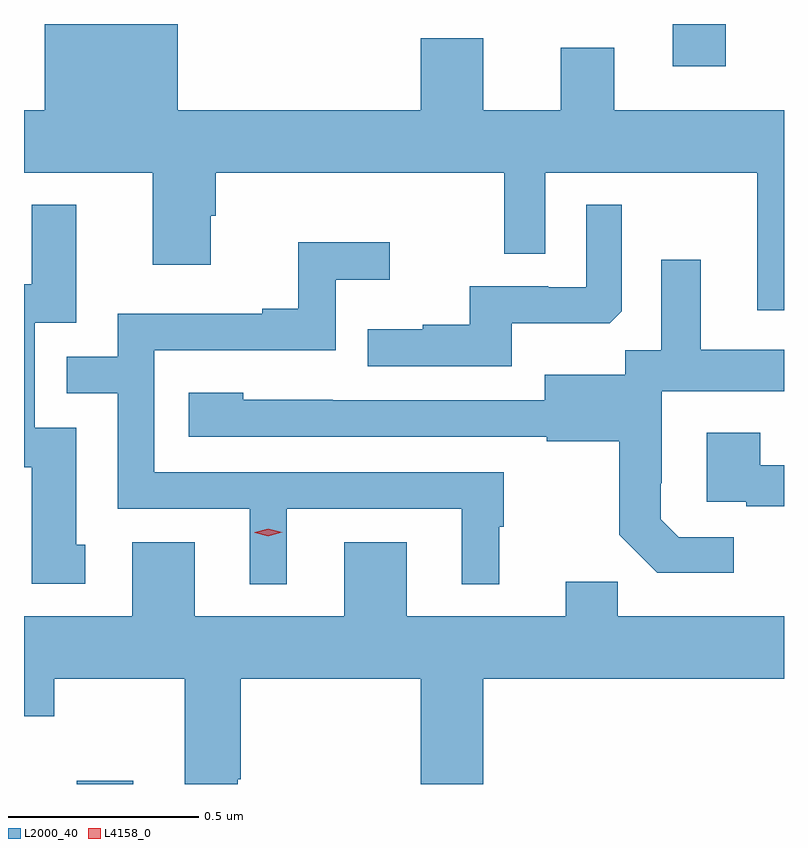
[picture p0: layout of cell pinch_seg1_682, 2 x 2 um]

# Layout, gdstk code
import gdstk
lib = gdstk.Library(unit=1e-6, precision=1e-09)
def R(c, l, rs):  # rectangles x0, y0, x1, y1
    for r in rs: c.add(gdstk.rectangle(r[:2], r[2:], *l))
def P(c, l, *ps):  # polygons
    for p in ps: c.add(gdstk.Polygon(p, *l))
L2000_40 = (2000, 40)
L4158_0 = (4158, 0)

pinch_seg1_682 = lib.new_cell('pinch_seg1_682')
R(pinch_seg1_682, L2000_40, [(799.467,572.767,799.615,572.776), (801.035,574.656,801.175,574.767)])
P(pinch_seg1_682, L2000_40, [(801.328,574.54),(800.881,574.54),(800.881,574.705),(800.741,574.705),(800.741,574.54),(800.536,574.54),(800.536,574.729),(800.372,574.729),(800.372,574.54),(799.732,574.54),(799.732,574.767),(799.382,574.767),(799.382,574.54),(799.328,574.54),(799.328,574.376),(799.667,574.376),(799.667,574.134),(799.819,574.134),(799.819,574.263),(799.832,574.263),(799.832,574.376),(800.592,574.376),(800.592,574.162),(800.7,574.162),(800.7,574.376),(801.257,574.376),(801.257,574.014),(801.328,574.014)],
  [(800.611,573.98),(800.869,573.98),(800.901,574.011),(800.901,574.291),(800.808,574.291),(800.808,574.074),(800.708,574.074),(800.708,574.077),(800.501,574.077),(800.501,573.976),(800.377,573.976),(800.377,573.964),(800.233,573.964),(800.233,573.867),(800.611,573.867)],
  [(799.489,573.396),(799.465,573.396),(799.465,573.705),(799.356,573.705),(799.356,573.981),(799.465,573.981),(799.465,574.291),(799.349,574.291),(799.349,574.082),(799.328,574.082),(799.328,573.6),(799.349,573.6),(799.349,573.294),(799.489,573.294)],
  [(800.02,573.492),(800.48,573.492),(800.48,573.293),(800.578,573.293),(800.578,573.444),(800.59,573.444),(800.59,573.588),(799.671,573.588),(799.671,573.909),(800.148,573.909),(800.148,574.094),(800.29,574.094),(800.29,574.193),(800.05,574.193),(800.05,574.018),(799.955,574.018),(799.955,574.005),(799.575,574.005),(799.575,573.891),(799.441,573.891),(799.441,573.795),(799.575,573.795),(799.575,573.492),(799.922,573.492),(799.922,573.293),(800.02,573.293)],
  [(801.196,573.417),(801.051,573.417),(801.004,573.464),(801.004,573.559),(801.006,573.559),(801.006,573.8),(801.328,573.8),(801.328,573.91),(801.109,573.91),(801.109,574.147),(801.005,574.147),(801.005,573.908),(800.91,573.908),(800.91,573.844),(800.699,573.844),(800.699,573.777),(800.141,573.777),(800.141,573.778),(799.905,573.778),(799.905,573.796),(799.761,573.796),(799.761,573.681),(800.703,573.681),(800.703,573.669),(800.895,573.669),(800.895,573.423),(800.995,573.323),(801.196,573.323)],
  [(801.328,573.606),(801.265,573.606),(801.265,573.691),(801.125,573.691),(801.125,573.51),(801.229,573.51),(801.229,573.498),(801.328,573.498)],
  [(799.891,572.779),(799.899,572.779),(799.899,573.044),(800.372,573.044),(800.372,572.767),(800.536,572.767),(800.536,573.044),(801.328,573.044),(801.328,573.208),(800.891,573.208),(800.891,573.299),(800.753,573.299),(800.753,573.208),(800.335,573.208),(800.335,573.403),(800.171,573.403),(800.171,573.208),(799.777,573.208),(799.777,573.403),(799.613,573.403),(799.613,573.208),(799.328,573.208),(799.328,572.945),(799.407,572.945),(799.407,573.044),(799.751,573.044),(799.751,572.767),(799.891,572.767)])
P(pinch_seg1_682, L4158_0, [(799.971,573.419),(799.935,573.428),(799.935,573.429),(799.935,573.429),(799.971,573.439),(800.007,573.43),(800.007,573.43),(800.007,573.43)])

lib.write_gds('pinch_seg1_682.gds')
